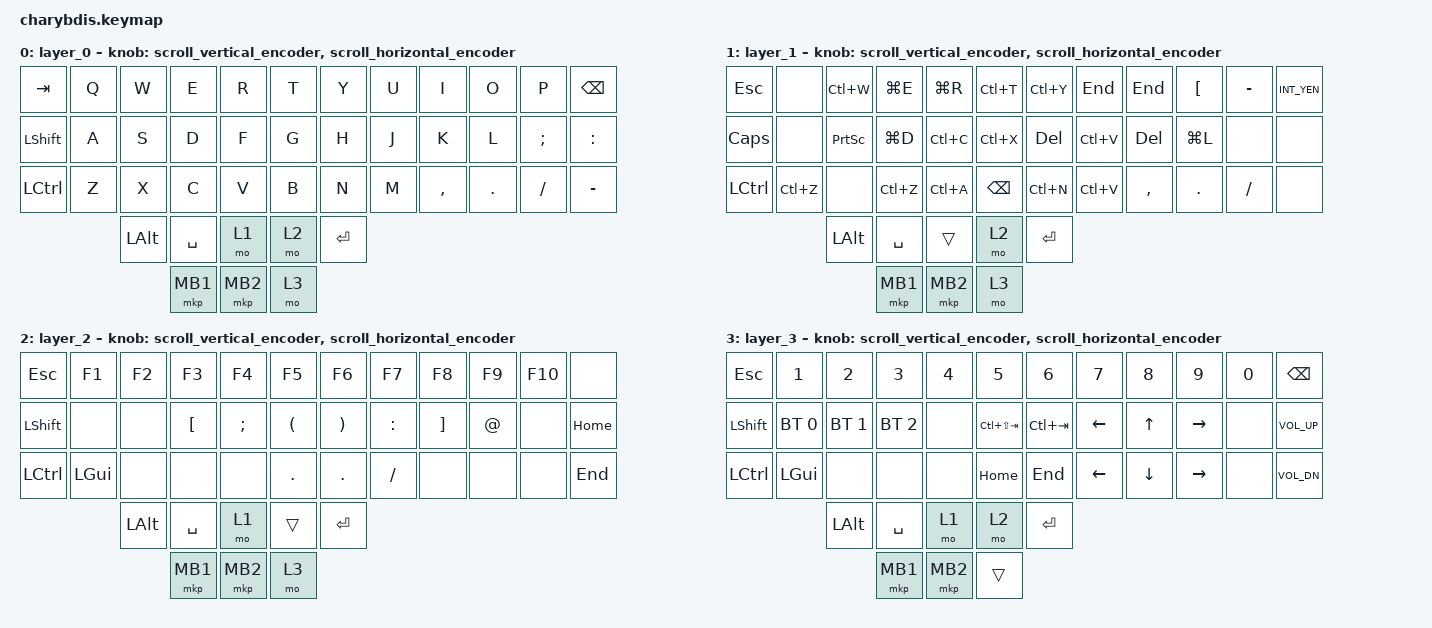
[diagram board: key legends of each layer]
#include <behaviors.dtsi>
#include <dt-bindings/zmk/bt.h>
#include <dt-bindings/zmk/keys.h>
#include <dt-bindings/zmk/rgb.h>
#include <dt-bindings/zmk/outputs.h>
#include <dt-bindings/zmk/pointing.h>
#include <dt-bindings/zmk/mouse.h>
#include <input/processors.dtsi>
#include <zephyr/dt-bindings/input/input-event-codes.h>

#define ZMK_POINTING_DEFAULT_MOVE_VAL 50
#define ZMK_POINTING_DEFAULT_SCRL_VAL 1

&mmv_input_listener { input-processors = <&zip_xy_scaler 1 1>; };
&msc_input_listener { input-processors = <&zip_scroll_scaler 1 1>; };

&msc {
    acceleration-exponent = <0>;
    time-to-max-speed-ms = <100>;
    delay-ms = <0>;
};

&mmv {
    time-to-max-speed-ms = <500>;
    acceleration-exponent = <0>;
    trigger-period-ms = <16>;
};

/ {
    scroll_vertical_encoder: scroll_vertical_encoder {
        compatible = "zmk,behavior-sensor-rotate";
        #sensor-binding-cells = <0>;
        bindings = <&msc SCRL_DOWN>, <&msc SCRL_UP>;
        tap-ms = <100>;
    };

    scroll_horizontal_encoder: scroll_horizontal_encoder {
        compatible = "zmk,behavior-sensor-rotate";
        #sensor-binding-cells = <0>;
        bindings = <&msc SCRL_LEFT>, <&msc SCRL_RIGHT>;
        tap-ms = <100>;
    };

    keymap {
        compatible = "zmk,keymap";

        layer_0 {
            bindings = <
                &kp TAB         &kp Q         &kp W         &kp E         &kp R         &kp T         &kp Y         &kp U         &kp I         &kp O         &kp P         &kp BACKSPACE
                &kp LSHIFT      &kp A         &kp S         &kp D         &kp F         &kp G         &kp H         &kp J         &kp K         &kp L         &kp SEMI      &kp COLON
                &kp LCTRL       &kp Z         &kp X         &kp C         &kp V         &kp B         &kp N         &kp M         &kp COMMA     &kp DOT       &kp FSLH      &kp MINUS

                                              &kp LALT      &kp SPACE     &mo 1         &mo 2         &kp ENTER
                                                            &mkp MB1      &mkp MB2      &mo 3
            >;
            sensor-bindings = <&scroll_vertical_encoder>, <&scroll_horizontal_encoder>;
        };

        layer_1 {
            bindings = <
                &kp ESC         &none         &kp LC(W)     &kp LG(E)     &kp LG(R)     &kp LC(T)     &kp LC(Y)     &kp END       &kp END       &kp LBKT      &kp MINUS     &kp INT_YEN
                &kp CAPS        &none         &kp PSCRN     &kp LG(D)     &kp LC(C)     &kp LC(X)     &kp DEL       &kp LC(V)     &kp DEL       &kp LG(L)     &none         &none
                &kp LCTRL       &kp LC(Z)     &none         &kp LC(Z)     &kp LC(A)     &kp BACKSPACE &kp LC(N)     &kp LC(V)     &kp COMMA     &kp DOT       &kp FSLH      &none

                                              &kp LALT      &kp SPACE     &trans        &mo 2         &kp ENTER
                                                            &mkp MB1      &mkp MB2      &mo 3
            >;
            sensor-bindings = <&scroll_vertical_encoder>, <&scroll_horizontal_encoder>;
        };

        layer_2 {
            bindings = <
                &kp ESC         &kp F1        &kp F2        &kp F3        &kp F4        &kp F5        &kp F6        &kp F7        &kp F8        &kp F9        &kp F10       &none
                &kp LSHIFT      &none         &none         &kp LBKT      &kp SEMI      &kp LPAR      &kp RPAR      &kp COLON     &kp RBKT      &kp AT        &none         &kp HOME
                &kp LCTRL       &kp LGUI      &none         &none         &none         &kp DOT       &kp DOT       &kp FSLH      &none         &none         &none         &kp END

                                              &kp LALT      &kp SPACE     &mo 1         &trans        &kp ENTER
                                                            &mkp MB1      &mkp MB2      &mo 3
            >;
            sensor-bindings = <&scroll_vertical_encoder>, <&scroll_horizontal_encoder>;
        };

        layer_3 {
            bindings = <
                &kp ESC         &kp N1        &kp N2        &kp N3        &kp N4        &kp N5        &kp N6        &kp N7        &kp N8        &kp N9        &kp N0        &kp BACKSPACE
                &kp LSHIFT      &bt BT_SEL 0  &bt BT_SEL 1  &bt BT_SEL 2  &none         &kp LC(LS(TAB)) &kp LC(TAB) &kp LEFT      &kp UP        &kp RIGHT     &none         &kp C_VOL_UP
                &kp LCTRL       &kp LGUI      &none         &none         &none         &kp HOME      &kp END       &kp LEFT      &kp DOWN      &kp RIGHT     &none         &kp C_VOL_DN

                                              &kp LALT      &kp SPACE     &mo 1         &mo 2         &kp ENTER
                                                            &mkp MB1      &mkp MB2      &trans
            >;
            sensor-bindings = <&scroll_vertical_encoder>, <&scroll_horizontal_encoder>;
        };
    };
};
